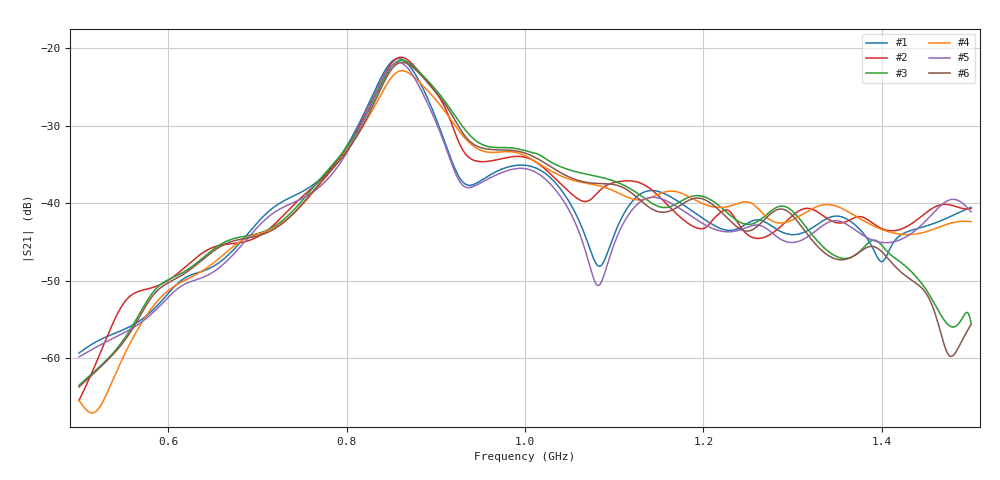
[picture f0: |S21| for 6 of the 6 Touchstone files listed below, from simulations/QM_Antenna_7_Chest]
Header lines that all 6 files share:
! TOUCHSTONE file generated by CST MICROWAVE STUDIO
! Header version: 2018
! Port assignment regex: !\s*Touchstone port\s*([0-9]+)\s*=\s*(CST MWS port|CST DS port)\s*([0-9]+|Zmin|Zmax)\s*\(\"(.*)\"\)(\s*mode\s*([0-9]+))?.*
! Touchstone port assignment:
! Touchstone port 1 = CST MWS port 1 ("")
! Touchstone port 2 = CST MWS port 2 ("")
# GHz S DB R 50
Fixed: L_HA = 400, Ltissue = 700, MT = 2.54, Rad_Dielectric = 30, Rad_Lower = 7.3, Rad_Upper = 30, Wtissue = 700, a_HA = 580, a_WG = 246, b_HA = 500, b_WG = 121, c_HA = 0, c_WG = 187, d_feed = 85, h_feed = 15, h_lower = 18, h_upper = 40, hfat = 3, hgap = 25, hmuscle = 50, hskin = 1.5
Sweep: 500 MHz to 1.5 GHz
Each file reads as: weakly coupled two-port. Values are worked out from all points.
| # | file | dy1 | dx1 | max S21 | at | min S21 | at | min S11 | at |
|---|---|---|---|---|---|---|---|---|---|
| 1 | 40_2.s2p | 328.7 | 346 | -21.34 dB | 858 MHz | -59.4 dB | 500 MHz | -49.1 dB | 1.294 GHz |
| 2 | 40_3.s2p | 328.7 | 520 | -21.18 dB | 861 MHz | -65.5 dB | 500 MHz | -26.4 dB | 1.237 GHz |
| 3 | 40_4.s2p | -328.7 | 693 | -21.55 dB | 862 MHz | -63.5 dB | 500 MHz | -39.0 dB | 764 MHz |
| 4 | 40_5.s2p | 328.7 | 866 | -22.91 dB | 862 MHz | -67.1 dB | 515 MHz | -35.0 dB | 1.255 GHz |
| 5 | 41_2.s2p | 346 | 346 | -21.84 dB | 858 MHz | -59.9 dB | 500 MHz | -32.9 dB | 1.292 GHz |
| 6 | 41_4.s2p | -346 | 693 | -21.83 dB | 862 MHz | -63.7 dB | 500 MHz | -35.2 dB | 763 MHz |
